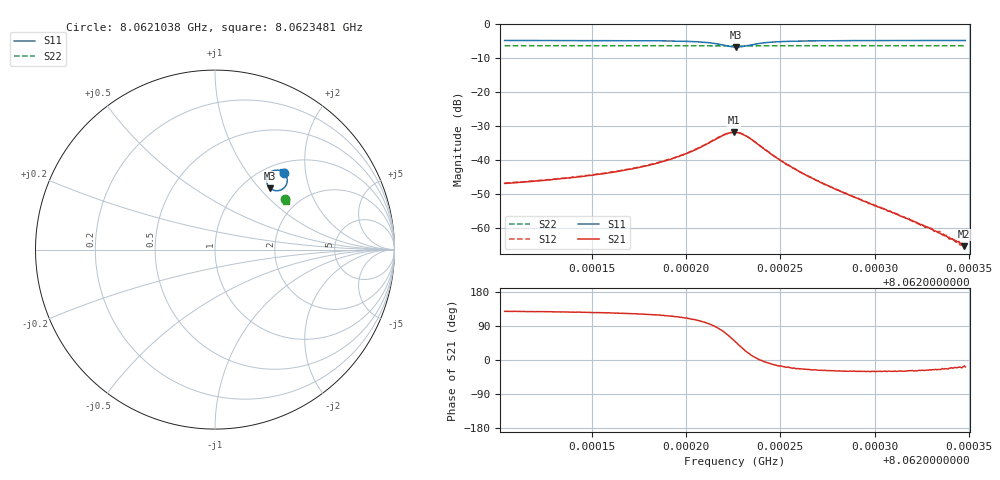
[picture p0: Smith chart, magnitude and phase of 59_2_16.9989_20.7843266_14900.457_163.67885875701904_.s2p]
#  HZ  S  RI  R  50.00
! Rohde & Schwarz Vector Network Analyzer
! Rohde-Schwarz,ZNB20-2Port,1311601062101988,3.16
! Created: UTC 3/20/2024, 10:54:43 PM
! freq[Hz]  re:S11  im:S11  re:S21  im:S21  re:S12  im:S12  re:S22  im:S22
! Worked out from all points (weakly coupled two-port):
!   401 points, 8.0621038 GHz to 8.0623481 GHz, reference 50 ohm
!   highest |S21| = -31.86 dB at 8.0622254 GHz (marker M1); lowest = -65.4 dB at 8.0623475 GHz (marker M2)
!   lowest |S11| = -6.8 dB at 8.0622266 GHz (marker M3), VSWR 2.70, Z = 66.2 + j57.3 ohm
!   |S11| at or under -10 dB: nowhere
!   |S22| runs from -6.4 to -6.3 dB; largest |S21 - S12| = 0.002
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8.06210382e9  0.3844 0.4281  -0.0028 0.00353  -0.00261 0.00371  0.3891 0.2844
8.06214474e9  0.3902 0.4213  -0.00333 0.00459  -0.00312 0.00486  0.3904 0.2822
8.06216611e9  0.3941 0.4154  -0.00381 0.00581  -0.00352 0.00613  0.3912 0.281
8.06218566e9  0.3992 0.4047  -0.00431 0.00797  -0.00391 0.00837  0.3921 0.2795
8.06219971e9  0.4024 0.3884  -0.00432 0.0115  -0.00372 0.0119  0.3922 0.2781
8.06221253e9  0.3942 0.356  -0.00153 0.0179  -0.000427 0.0182  0.3919 0.2761
8.06222047e9  0.3587 0.3297  0.0069 0.0225  0.00871 0.0222  0.3901 0.2752
8.06222536e9  0.3176 0.3348  0.0157 0.0201  0.0172 0.019  0.3886 0.2761
8.06222597e9  0.3127 0.3376  0.0167 0.0192  0.0181 0.0182  0.3886 0.2762
8.06222658e9  0.3079 0.3412  0.0176 0.0183  0.0189 0.0171  0.3884 0.2763
8.06222902e9  0.2935 0.359  0.0201 0.0141  0.0212 0.0128  0.388 0.2773
8.06223208e9  0.2872 0.3847  0.0207 0.00832  0.0213 0.00691  0.3883 0.2783
8.06224124e9  0.3097 0.431  0.0146 -0.00105  0.0145 -0.00196  0.3903 0.2793
8.06225101e9  0.3343 0.4421  0.00909 -0.00272  0.00886 -0.00332  0.3918 0.2789
8.06226689e9  0.3549 0.4422  0.00482 -0.00236  0.00473 -0.00263  0.3931 0.278
8.06228094e9  0.364 0.4399  0.00312 -0.00169  0.00302 -0.00188  0.3939 0.2771
8.06230781e9  0.3732 0.4358  0.00153 -0.000874  0.00143 -0.000981  0.3951 0.2756
8.06233407e9  0.3784 0.4327  0.000763 -0.000359  0.000781 -0.00042  0.3961 0.2741
8.06234323e9  0.3797 0.4318  0.000602 -0.000224  0.00056 -0.000233  0.3966 0.2736
8.06234445e9  0.3798 0.4317  0.000609 -0.000207  0.000577 -0.000237  0.3964 0.2735
8.06234751e9  0.3803 0.4314  0.000516 -0.000143  0.000536 -0.000205  0.3965 0.2734
8.06234812e9  0.3802 0.4313  0.000528 -0.000174  0.000518 -0.000162  0.3965 0.2734
